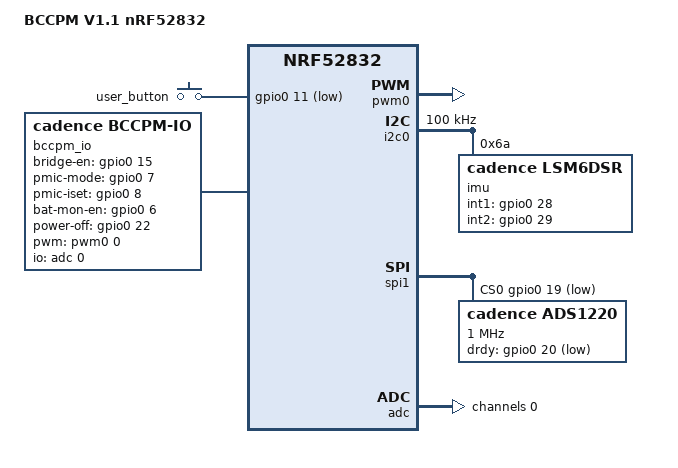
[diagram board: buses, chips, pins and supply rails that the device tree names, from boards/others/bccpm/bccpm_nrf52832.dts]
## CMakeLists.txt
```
cmake_minimum_required(VERSION 3.20.0)
list(APPEND BOARD_ROOT ${CMAKE_CURRENT_SOURCE_DIR})
list(APPEND DTS_ROOT ${CMAKE_CURRENT_SOURCE_DIR})
if(NOT DEFINED BOARD)
  set(BOARD bccpm/nrf52832 CACHE STRING "Target board")
endif()

# Match the ANT add-on used by the existing nRF52832 project. Override the
# path through the environment or CMake cache when installed elsewhere.
set(CADENCE_ANT_MODULE_DIR "D:/ncs/ant-v2.1.1/ant" CACHE PATH "sdk-ant v2.1.1 module")
if(DEFINED ENV{CADENCE_ANT_MODULE_DIR})
  set(CADENCE_ANT_MODULE_DIR "$ENV{CADENCE_ANT_MODULE_DIR}" CACHE PATH "sdk-ant v2.1.1 module" FORCE)
endif()
if(NOT EXISTS "${CADENCE_ANT_MODULE_DIR}/zephyr/module.yml")
  message(FATAL_ERROR "ANT add-on missing: set CADENCE_ANT_MODULE_DIR to the sdk-ant v2.1.1 ant directory")
endif()
list(APPEND ZEPHYR_EXTRA_MODULES "${CADENCE_ANT_MODULE_DIR}")
find_package(Zephyr REQUIRED HINTS $ENV{ZEPHYR_BASE})
file(STRINGS "${ZEPHYR_NRF_MODULE_DIR}/VERSION" ncs_version LIMIT_COUNT 1)
if(NOT ncs_version STREQUAL "3.2.4")
  message(FATAL_ERROR "This project requires NCS 3.2.4 with sdk-ant v2.1.1")
endif()

project(nRF52832_BCCPM_V1.1)

target_include_directories(app PRIVATE src)
target_sources(app PRIVATE src/main.c src/drivers/lsm6dsr.c src/app/imu.c
    src/drivers/ads1220.c src/app/bridge_adc.c
    src/drivers/battery_adc.c src/app/power.c src/app/board_io.c)
```

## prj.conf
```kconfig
# ANT SDK v2.1.1; evaluation key is for non-commercial development only.
CONFIG_ANT=y
CONFIG_ANT_EVALUATION_KEY=y
CONFIG_ANT_CHANNEL_CONFIG=y
CONFIG_ANT_KEY_MANAGER=y
CONFIG_ANT_TOTAL_CHANNELS_ALLOCATED=1
CONFIG_ANT_ENCRYPTED_CHANNELS=0
CONFIG_HEAP_MEM_POOL_SIZE=4096

CONFIG_GPIO=y
CONFIG_I2C=y
CONFIG_SPI=y
CONFIG_ADC=y
CONFIG_PWM=y
CONFIG_SERIAL=n
CONFIG_CONSOLE=n
```

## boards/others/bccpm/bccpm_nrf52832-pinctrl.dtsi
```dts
#include <zephyr/dt-bindings/pinctrl/nrf-pinctrl.h>

&pinctrl {
	bccpm_i2c0_default: bccpm_i2c0_default {
		group1 { psels = <NRF_PSEL(TWIM_SDA, 0, 26)>, <NRF_PSEL(TWIM_SCL, 0, 27)>; };
	};
	bccpm_i2c0_sleep: bccpm_i2c0_sleep {
		group1 {
			psels = <NRF_PSEL(TWIM_SDA, 0, 26)>, <NRF_PSEL(TWIM_SCL, 0, 27)>;
			low-power-enable;
		};
	};
	bccpm_spi1_default: bccpm_spi1_default {
		group1 { psels = <NRF_PSEL(SPIM_SCK, 0, 16)>, <NRF_PSEL(SPIM_MOSI, 0, 17)>, <NRF_PSEL(SPIM_MISO, 0, 18)>; };
	};
	bccpm_spi1_sleep: bccpm_spi1_sleep {
		group1 {
			psels = <NRF_PSEL(SPIM_SCK, 0, 16)>, <NRF_PSEL(SPIM_MOSI, 0, 17)>, <NRF_PSEL(SPIM_MISO, 0, 18)>;
			low-power-enable;
		};
	};
	bccpm_pwm0_default: bccpm_pwm0_default {
		group1 { psels = <NRF_PSEL(PWM_OUT0, 0, 23)>; };
	};
	bccpm_pwm0_sleep: bccpm_pwm0_sleep {
		group1 { psels = <NRF_PSEL(PWM_OUT0, 0, 23)>; low-power-enable; };
	};
};
```

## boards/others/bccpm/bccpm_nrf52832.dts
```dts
/dts-v1/;
#include <nordic/nrf52832_qfaa.dtsi>
#include <zephyr/dt-bindings/gpio/gpio.h>
#include <zephyr/dt-bindings/i2c/i2c.h>
#include <zephyr/dt-bindings/adc/adc.h>
#include <zephyr/dt-bindings/adc/nrf-saadc.h>
#include <zephyr/dt-bindings/pwm/pwm.h>
#include <zephyr/dt-bindings/input/input-event-codes.h>
#include "bccpm_nrf52832-pinctrl.dtsi"

/ {
	model = "BCCPM V1.1 nRF52832";
	compatible = "cadence,bccpm-v1-1";
	chosen {
		zephyr,sram = &sram0;
		zephyr,flash = &flash0;
	};

	aliases {
		sw0 = &user_button;
	};

	buttons {
		compatible = "gpio-keys";
		user_button: user-button {
			gpios = <&gpio0 11 (GPIO_PULL_UP | GPIO_ACTIVE_LOW)>;
			zephyr,code = <INPUT_KEY_0>;
		};
	};

	bccpm_io: board-io {
		compatible = "cadence,bccpm-io";
		bridge-en-gpios = <&gpio0 15 GPIO_ACTIVE_HIGH>;
		pwms = <&pwm0 0 PWM_USEC(250) PWM_POLARITY_NORMAL>;
		pmic-mode-gpios = <&gpio0 7 GPIO_ACTIVE_HIGH>;
		pmic-iset-gpios = <&gpio0 8 GPIO_ACTIVE_HIGH>;
		/* Q1: high turns the switched divider on. */
		bat-mon-en-gpios = <&gpio0 6 GPIO_ACTIVE_HIGH>;
		/* GPIO_ACTIVE_HIGH describes physical level, not verified Ship polarity. */
		power-off-gpios = <&gpio0 22 GPIO_ACTIVE_HIGH>;
		io-channels = <&adc 0>;
	};
};

&gpio0 { status = "okay"; };
&gpiote { status = "okay"; };
&uicr { gpio-as-nreset; };
&uart0 { status = "disabled"; };

&pwm0 {
	status = "okay";
	pinctrl-0 = <&bccpm_pwm0_default>;
	pinctrl-1 = <&bccpm_pwm0_sleep>;
	pinctrl-names = "default", "sleep";
};

&i2c0 {
	compatible = "nordic,nrf-twim";
	status = "okay";
	clock-frequency = <I2C_BITRATE_STANDARD>;
	pinctrl-0 = <&bccpm_i2c0_default>;
	pinctrl-1 = <&bccpm_i2c0_sleep>;
	pinctrl-names = "default", "sleep";
	imu: imu@6a {
		compatible = "cadence,lsm6dsr";
		reg = <0x6a>;
		int1-gpios = <&gpio0 28 GPIO_ACTIVE_HIGH>;
		int2-gpios = <&gpio0 29 GPIO_ACTIVE_HIGH>;
	};
};

&spi1 {
	compatible = "nordic,nrf-spim";
	status = "okay";
	pinctrl-0 = <&bccpm_spi1_default>;
	pinctrl-1 = <&bccpm_spi1_sleep>;
	pinctrl-names = "default", "sleep";
	cs-gpios = <&gpio0 19 GPIO_ACTIVE_LOW>;
	ads1220: adc@0 {
		compatible = "cadence,ads1220";
		reg = <0>;
		spi-max-frequency = <1000000>;
		spi-cpha;
		drdy-gpios = <&gpio0 20 GPIO_ACTIVE_LOW>;
	};
};

&adc {
	status = "okay";
	#address-cells = <1>;
	#size-cells = <0>;
	channel@0 {
		reg = <0>;
		zephyr,gain = "ADC_GAIN_1_6";
		zephyr,reference = "ADC_REF_INTERNAL";
		zephyr,acquisition-time = <ADC_ACQ_TIME(ADC_ACQ_TIME_MICROSECONDS, 40)>;
		zephyr,input-positive = <NRF_SAADC_AIN0>;
		zephyr,resolution = <12>;
	};
};
```

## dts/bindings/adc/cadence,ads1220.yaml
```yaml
description: BCCPM ADS1220 wiring; no driver is supplied by this binding.
compatible: "cadence,ads1220"
include: spi-device.yaml
properties:
  drdy-gpios:
    type: phandle-array
    required: true
```

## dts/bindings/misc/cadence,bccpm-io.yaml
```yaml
description: BCCPM board control pins and battery ADC input.
compatible: "cadence,bccpm-io"
include: base.yaml
properties:
  bridge-en-gpios:
    type: phandle-array
    required: true
  pwms:
    type: phandle-array
    required: true
  pmic-mode-gpios:
    type: phandle-array
    required: true
  pmic-iset-gpios:
    type: phandle-array
    required: true
  bat-mon-en-gpios:
    type: phandle-array
    required: true
    description: Switched battery divider enable, active high.
  power-off-gpios:
    type: phandle-array
    required: true
    description: Physical POWER_OFF GPIO; ship trigger polarity and timing are not yet verified.
  io-channels:
    type: phandle-array
    required: true
```

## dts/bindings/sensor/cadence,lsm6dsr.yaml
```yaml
description: BCCPM LSM6DSR wiring; no driver is supplied by this binding.
compatible: "cadence,lsm6dsr"
include: i2c-device.yaml
properties:
  int1-gpios:
    type: phandle-array
    required: true
  int2-gpios:
    type: phandle-array
    required: true
```

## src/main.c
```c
#include "app/board_io.h"

int main(void)
{
	/* Initialize board functions before any sensor or bridge application. */
	return board_io_init();
}
```
